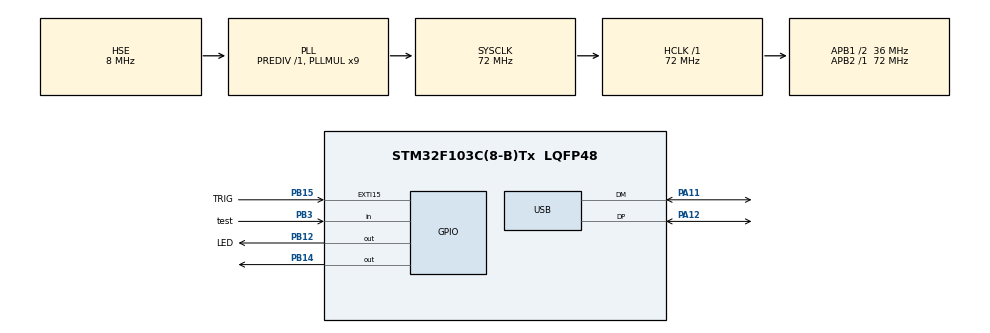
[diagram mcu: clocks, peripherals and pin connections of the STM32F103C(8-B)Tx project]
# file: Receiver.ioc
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Mcu.Family=STM32F1
Mcu.Name=STM32F103C(8-B)Tx
Mcu.Package=LQFP48
NVIC.EXTI15_10_IRQn=true\:0\:0\:false\:false\:true\:true\:true
NVIC.PriorityGroup=NVIC_PRIORITYGROUP_4
NVIC.TIM2_IRQn=true\:0\:0\:false\:false\:true\:true\:true
NVIC.USB_LP_CAN1_RX0_IRQn=true\:0\:0\:false\:false\:true\:false\:true
PA11.Mode=Device
PA11.Signal=USB_DM
PA12.Mode=Device
PA12.Signal=USB_DP
PA13.Mode=Serial_Wire
PA13.Signal=SYS_JTMS-SWDIO
PA14.Mode=Serial_Wire
PA14.Signal=SYS_JTCK-SWCLK
PB12.GPIO_Label=LED
PB12.GPIO_Speed=GPIO_SPEED_FREQ_HIGH
PB12.Signal=GPIO_Output
PB14.GPIO_Speed=GPIO_SPEED_FREQ_HIGH
PB14.PinState=GPIO_PIN_RESET
PB14.Signal=GPIO_Output
PB15.GPIO_Label=TRIG
PB15.GPIO_ModeDefaultEXTI=GPIO_MODE_IT_RISING
PB15.GPIO_PuPd=GPIO_NOPULL
PB15.Signal=GPXTI15
PB3.GPIO_Label=test
PB3.GPIO_PuPd=GPIO_NOPULL
PB3.Signal=GPIO_Input
PC14-OSC32_IN.Mode=LSE-External-Oscillator
PC14-OSC32_IN.Signal=RCC_OSC32_IN
PC15-OSC32_OUT.Mode=LSE-External-Oscillator
PC15-OSC32_OUT.Signal=RCC_OSC32_OUT
PD0-OSC_IN.Mode=HSE-External-Oscillator
PD0-OSC_IN.Signal=RCC_OSC_IN
PD1-OSC_OUT.Mode=HSE-External-Oscillator
PD1-OSC_OUT.Signal=RCC_OSC_OUT
ProjectManager.HeapSize=0x100
ProjectManager.StackSize=0x400
ProjectManager.TargetToolchain=STM32CubeIDE
RCC.ADCPresc=RCC_ADCPCLK2_DIV6
RCC.AHBFreq_Value=72000000
RCC.APB1CLKDivider=RCC_HCLK_DIV2
RCC.APB1Freq_Value=36000000
RCC.APB1TimFreq_Value=72000000
RCC.APB2Freq_Value=72000000
RCC.APB2TimFreq_Value=72000000
RCC.HCLKFreq_Value=72000000
RCC.PLLMUL=RCC_PLL_MUL9
RCC.PLLSourceVirtual=RCC_PLLSOURCE_HSE
RCC.SYSCLKFreq_VALUE=72000000
RCC.SYSCLKSource=RCC_SYSCLKSOURCE_PLLCLK
RCC.USBFreq_Value=48000000
RCC.USBPrescaler=RCC_USBCLKSOURCE_PLL_DIV1_5
TIM2.Period=50-1
TIM2.Prescaler=72-1
TIM2.TIM_MasterOutputTrigger=TIM_TRGO_RESET
TIM2.TIM_MasterSlaveMode=TIM_MASTERSLAVEMODE_DISABLE
USB_DEVICE.APP_RX_DATA_SIZE=2048
USB_DEVICE.APP_TX_DATA_SIZE=2048
USB_DEVICE.CLASS_NAME_FS=CDC
USB_DEVICE.USBD_MAX_NUM_INTERFACES=1
USB_DEVICE.VirtualMode=Cdc
USB_DEVICE.VirtualModeFS=Cdc_FS
VP_TIM2_VS_ClockSourceINT.Mode=Internal
VP_USB_DEVICE_VS_USB_DEVICE_CDC_FS.Mode=CDC_FS
board=custom

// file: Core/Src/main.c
/* USER CODE BEGIN Header */
/**
 ******************************************************************************
 * @file           : main.c
 * @brief          : Main program body
 ******************************************************************************
 * @attention
 *
 * <h2><center>&copy; Copyright (c) 2020 STMicroelectronics.
 * All rights reserved.</center></h2>
 *
 * This software component is licensed by ST under BSD 3-Clause license,
 * the "License"; You may not use this file except in compliance with the
 * License. You may obtain a copy of the License at:
 *                        opensource.org/licenses/BSD-3-Clause
 *
 ******************************************************************************
 */
/* USER CODE END Header */
#include "main.h"
#include "usb_device.h"

/* USER CODE BEGIN PD */
#define ADC_BUF_LEN 100
/* USER CODE END PD */

TIM_HandleTypeDef htim2;

/* USER CODE BEGIN PV */

uint32_t g_ADC1;
static volatile uint32_t g_ADCBuffer[1];
int g_TIMCALLBACK;//[8];

int data_buffer[100];

int i = 0;
int j = 0;
int k = 0;
char Msg[100];
char binaryString[8] = "";
char endString[] = "00000000";
int len = 10;
int counter = 1;
int bitnum = 0;
int stop = 0;
int initial_sync = 0;
int bytes = 0;
int bit = 0;
int wait = 0;
char c;
int period = 0;
int pulse_delay = 7;
int end_bit_flag = 0;
int word_end = 0;
int wait2 = 0;
int loop = 0;

//uint32_t adc_buf[ADC_BUF_LEN];
//double voltage = 0.0;

/* USER CODE END PV */

void SystemClock_Config(void);
static void MX_GPIO_Init(void);
static void MX_TIM2_Init(void);
/* USER CODE BEGIN PFP */
float Get_Voltage(uint32_t g_ADC1);
//void user_pwm_setvalue(uint16_t value);
/* USER CODE END PFP */

/* USER CODE BEGIN 0 */

/*void user_pwm_setvalue(uint16_t value)
{
    TIM_OC_InitTypeDef sConfigOC;

    sConfigOC.OCMode = TIM_OCMODE_PWM1;
    sConfigOC.Pulse = value;
    sConfigOC.OCPolarity = TIM_OCPOLARITY_HIGH;
    sConfigOC.OCNPolarity = TIM_OCNPOLARITY_HIGH;
    sConfigOC.OCFastMode = TIM_OCFAST_DISABLE;
    sConfigOC.OCIdleState = TIM_OCIDLESTATE_RESET;
    sConfigOC.OCNIdleState = TIM_OCNIDLESTATE_RESET;
    if(HAL_TIM_PWM_ConfigChannel(&htim1, &sConfigOC, TIM_CHANNEL_1) != HAL_OK)
    {
    	Error_Handler();
    }
    HAL_TIM_PWM_Start(&htim1, TIM_CHANNEL_1);
}*/

/* USER CODE END 0 */

int main(void)
{

  /* MCU Configuration--------------------------------------------------------*/

  /* Reset of all peripherals, Initializes the Flash interface and the Systick. */
  HAL_Init();

  /* USER CODE BEGIN Init */

	//HAL_NVIC_DisableIRQ(EXTI15_10_IRQn);

  /* USER CODE END Init */

  /* Configure the system clock */
  SystemClock_Config();

  /* Initialize all configured peripherals */
  MX_GPIO_Init();
  MX_USB_DEVICE_Init();
  MX_TIM2_Init();
  /* USER CODE BEGIN 2 */
	//HAL_TIM_Base_Start(&htim1);
	//HAL_TIM_Base_Start(&htim3);
	//HAL_TIM_PWM_Start(&htim3, TIM_CHANNEL_1);

	//HAL_ADC_Start(&hadc1);

	//HAL_ADC_Start_DMA(&hadc1, (uint32_t*)adc_buf, ADC_BUF_LEN);

	//float input_voltage = 0.0;

	//uint16_t pwm_value = 0;
	//uint16_t step = 0;
	//uint32_t v = 0;
	//char msg[10];
	//HAL_Delay(3000);
	//HAL_NVIC_EnableIRQ(EXTI15_10_IRQn);
	HAL_GPIO_WritePin(LED_GPIO_Port, LED_Pin, GPIO_PIN_SET);

  /* USER CODE END 2 */

  /* Infinite loop */
	while (1)
	{

	}
}

void SystemClock_Config(void)
{
  RCC_OscInitTypeDef RCC_OscInitStruct = {0};
  RCC_ClkInitTypeDef RCC_ClkInitStruct = {0};
  RCC_PeriphCLKInitTypeDef PeriphClkInit = {0};

  /** Initializes the RCC Oscillators according to the specified parameters
  * in the RCC_OscInitTypeDef structure.
  */
  RCC_OscInitStruct.OscillatorType = RCC_OSCILLATORTYPE_HSE;
  RCC_OscInitStruct.HSEState = RCC_HSE_ON;
  RCC_OscInitStruct.HSEPredivValue = RCC_HSE_PREDIV_DIV1;
  RCC_OscInitStruct.HSIState = RCC_HSI_ON;
  RCC_OscInitStruct.PLL.PLLState = RCC_PLL_ON;
  RCC_OscInitStruct.PLL.PLLSource = RCC_PLLSOURCE_HSE;
  RCC_OscInitStruct.PLL.PLLMUL = RCC_PLL_MUL9;
  if (HAL_RCC_OscConfig(&RCC_OscInitStruct) != HAL_OK)
  {
    Error_Handler();
  }
  /** Initializes the CPU, AHB and APB buses clocks
  */
  RCC_ClkInitStruct.ClockType = RCC_CLOCKTYPE_HCLK|RCC_CLOCKTYPE_SYSCLK
                              |RCC_CLOCKTYPE_PCLK1|RCC_CLOCKTYPE_PCLK2;
  RCC_ClkInitStruct.SYSCLKSource = RCC_SYSCLKSOURCE_PLLCLK;
  RCC_ClkInitStruct.AHBCLKDivider = RCC_SYSCLK_DIV1;
  RCC_ClkInitStruct.APB1CLKDivider = RCC_HCLK_DIV2;
  RCC_ClkInitStruct.APB2CLKDivider = RCC_HCLK_DIV1;

  if (HAL_RCC_ClockConfig(&RCC_ClkInitStruct, FLASH_LATENCY_2) != HAL_OK)
  {
    Error_Handler();
  }
  PeriphClkInit.PeriphClockSelection = RCC_PERIPHCLK_USB;
  PeriphClkInit.UsbClockSelection = RCC_USBCLKSOURCE_PLL_DIV1_5;
  if (HAL_RCCEx_PeriphCLKConfig(&PeriphClkInit) != HAL_OK)
  {
    Error_Handler();
  }
}

static void MX_TIM2_Init(void)
{

  TIM_ClockConfigTypeDef sClockSourceConfig = {0};
  TIM_MasterConfigTypeDef sMasterConfig = {0};

  htim2.Instance = TIM2;
  htim2.Init.Prescaler = 72-1;
  htim2.Init.CounterMode = TIM_COUNTERMODE_UP;
  htim2.Init.Period = 50-1;
  htim2.Init.ClockDivision = TIM_CLOCKDIVISION_DIV1;
  htim2.Init.AutoReloadPreload = TIM_AUTORELOAD_PRELOAD_DISABLE;
  if (HAL_TIM_Base_Init(&htim2) != HAL_OK)
  {
    Error_Handler();
  }
  sClockSourceConfig.ClockSource = TIM_CLOCKSOURCE_INTERNAL;
  if (HAL_TIM_ConfigClockSource(&htim2, &sClockSourceConfig) != HAL_OK)
  {
    Error_Handler();
  }
  sMasterConfig.MasterOutputTrigger = TIM_TRGO_RESET;
  sMasterConfig.MasterSlaveMode = TIM_MASTERSLAVEMODE_DISABLE;
  if (HAL_TIMEx_MasterConfigSynchronization(&htim2, &sMasterConfig) != HAL_OK)
  {
    Error_Handler();
  }

}

static void MX_GPIO_Init(void)
{
  GPIO_InitTypeDef GPIO_InitStruct = {0};

  /* GPIO Ports Clock Enable */
  __HAL_RCC_GPIOC_CLK_ENABLE();
  __HAL_RCC_GPIOD_CLK_ENABLE();
  __HAL_RCC_GPIOB_CLK_ENABLE();
  __HAL_RCC_GPIOA_CLK_ENABLE();

  /*Configure GPIO pin Output Level */
  HAL_GPIO_WritePin(GPIOB, LED_Pin|GPIO_PIN_14, GPIO_PIN_RESET);

  /*Configure GPIO pins : LED_Pin PB14 */
  GPIO_InitStruct.Pin = LED_Pin|GPIO_PIN_14;
  GPIO_InitStruct.Mode = GPIO_MODE_OUTPUT_PP;
  GPIO_InitStruct.Pull = GPIO_NOPULL;
  GPIO_InitStruct.Speed = GPIO_SPEED_FREQ_HIGH;
  HAL_GPIO_Init(GPIOB, &GPIO_InitStruct);

  /*Configure GPIO pin : TRIG_Pin */
  GPIO_InitStruct.Pin = TRIG_Pin;
  GPIO_InitStruct.Mode = GPIO_MODE_IT_RISING;
  GPIO_InitStruct.Pull = GPIO_NOPULL;
  HAL_GPIO_Init(TRIG_GPIO_Port, &GPIO_InitStruct);

  /*Configure GPIO pin : test_Pin */
  GPIO_InitStruct.Pin = test_Pin;
  GPIO_InitStruct.Mode = GPIO_MODE_INPUT;
  GPIO_InitStruct.Pull = GPIO_NOPULL;
  HAL_GPIO_Init(test_GPIO_Port, &GPIO_InitStruct);

  /* EXTI interrupt init*/
  HAL_NVIC_SetPriority(EXTI15_10_IRQn, 0, 0);
  HAL_NVIC_EnableIRQ(EXTI15_10_IRQn);

}

/* USER CODE BEGIN 4 */

void HAL_GPIO_EXTI_Callback(uint16_t GPIO_Pin) // trigger once when the first rising edge of the first bit of the start flag is detected
{
	if(GPIO_Pin == TRIG_Pin) // check that it has been called on the right pin
	{

		while(loop != 1)
		{
			if(HAL_GPIO_ReadPin(test_GPIO_Port, test_Pin) == 1)
			{
				HAL_TIM_Base_Start_IT(&htim2); // start the timer
				HAL_NVIC_DisableIRQ(EXTI15_10_IRQn); // disable this trigger
				__HAL_GPIO_EXTI_CLEAR_IT(GPIO_Pin);
				loop = 1;
			}
		}
		//HAL_GPIO_WritePin(LED_GPIO_Port, LED_Pin, GPIO_PIN_RESET); // turn on the blue on board LED to signal that data is now being sampled
		//j++;
	}
}

// Callback: timer has rolled over
void HAL_TIM_PeriodElapsedCallback(TIM_HandleTypeDef *htim)
{
	if ( htim == &htim2 ) // triggers every 0.5ms
	{
		//if( k == 0 )
		//{
		//sprintf(Msg, "Incoming Transmission:\r\n"); // visual to tell user that the program has started recording data
		//CDC_Transmit_FS(Msg, strlen(Msg)); // prints to putty
		//k = 1;
		//}

		if( wait < pulse_delay ) // initially 7 then 1 then 9 then 1 then 9....
		{
			wait++;
			//HAL_GPIO_WritePin(GPIOB, GPIO_PIN_14, GPIO_PIN_SET);
			HAL_GPIO_WritePin(GPIOB, GPIO_PIN_14, GPIO_PIN_RESET);

		} else { // record data
			if(i == 8)
			{
				// uncomment to end the transmission after 8 zeros are detected in a line (endString = '00000000')
				//if(strcmp(binaryString, endString) == 0)
				//{
				//	sprintf(Msg, "\r\nTransmission Ended.\r\n");
				//	CDC_Transmit_FS(Msg, strlen(Msg));
				//HAL_TIM_Base_Stop_IT(&htim2);
				//}
				//else
				//{

				if(end_bit_flag != 1)
				{
					c = strtol(binaryString, 0, 2); // method to convert the first 8 positions in the integer binarystring array to a character
					if(bytes == 32) // used to print the next entire transmission to a new line (len - 1)
					{
						sprintf(Msg, "%c\r\n", c); //\r\n
						CDC_Transmit_FS(Msg, strlen(Msg));
						bytes = 0;
						word_end = 1;
						end_bit_flag = 1;
					}
					else
					{
						sprintf(Msg, "%c", c); // prints one character at a time
						CDC_Transmit_FS(Msg, strlen(Msg));
						bytes++;
					}

					wait = 1;
				}

				if(word_end == 1)
				{
					if(wait2 < 1)
					{
						wait2++;
						HAL_GPIO_WritePin(GPIOB, GPIO_PIN_14, GPIO_PIN_RESET);
					}
					else
					{
						word_end = 0;
					}
				}
				else
				{
					loop = 0;
					end_bit_flag = 0;
					i = 0;
					HAL_NVIC_EnableIRQ(EXTI15_10_IRQn);
					wait = 0; // reset pulse delay and set delay to 9 cycles to incorporate both the start and end flags
					wait2 = 0;
					pulse_delay = 6;
					HAL_TIM_Base_Stop_IT(&htim2);
				}
			}
			else
			{
				HAL_GPIO_WritePin(GPIOB, GPIO_PIN_14, GPIO_PIN_SET);
				//HAL_GPIO_WritePin(GPIOB, GPIO_PIN_14, GPIO_PIN_RESET);

				// check if the input voltage is above approximately 1.2V to record a HIGH (1), or less than that to record a LOW (0)
				g_TIMCALLBACK = HAL_GPIO_ReadPin(test_GPIO_Port, test_Pin);
				//sprintf(Msg, "%d", g_TIMCALLBACK);
				//CDC_Transmit_FS(Msg, strlen(Msg));
				binaryString[i] = g_TIMCALLBACK +'0'; // simple trick to convert an int to a char

				i++;

				// reset pulse delay and set delay to 1 cycle to sample in the exact middle of each incoming pulse
				wait = 0;
				pulse_delay = 1;
			}
		}
	}
}

// METHOD USING 2 TIMERS
/*if ( htim == &htim3 ) // triggers every 1ms
	{
		wait++;

		if(wait == 4)
		{
			HAL_GPIO_WritePin(GPIOB, GPIO_PIN_14, GPIO_PIN_RESET);
			wait = 0;
			pulse_delay = 1;
			HAL_TIM_Base_Stop_IT(&htim3);
			HAL_TIM_Base_Start_IT(&htim2);
		}
		else
		{
			HAL_GPIO_WritePin(GPIOB, GPIO_PIN_14, GPIO_PIN_SET);
		}

		//sprintf(Msg, "Incoming Transmission:\r\n");
		//CDC_Transmit_FS(Msg, strlen(Msg));

	}
	else */

//OLD CODE FOR 2ND TIMER
//sprintf(Msg, "%d", g_TIMCALLBACK);
//CDC_Transmit_FS(Msg, strlen(Msg));

/*if (end_bit_flag != 1){
				if(i == 8)
				{
					c = strtol(binaryString, 0, 2);
					sprintf(Msg, "%s = %c\r\n", binaryString, c);
					CDC_Transmit_FS(Msg, strlen(Msg));
					i = 0;
					end_bit_flag = 1;
					wait = 0;
				} else {
					HAL_GPIO_WritePin(GPIOB, GPIO_PIN_14, GPIO_PIN_SET);

					g_TIMCALLBACK[i] = HAL_GPIO_ReadPin(test_GPIO_Port, test_Pin);
					binaryString[i] = g_TIMCALLBACK[i] +'0';

					i++;

					wait = 0;
					//pulse_delay = 2;
				}

			} else {
				wait = 0;
				end_bit_flag = 0;
				HAL_TIM_Base_Stop_IT(&htim2);
				HAL_TIM_Base_Start_IT(&htim3);
			}*/

// OLD CODE USING 1 TIMER
/*if( counter % 2 == 0 ){
			if(wait1 == 1)
			{
				wait1 = 0;
				initial_sync = 0;
				HAL_TIM_Base_Stop_IT(&htim2);
				HAL_NVIC_EnableIRQ(EXTI15_10_IRQn);
			}else{

				if(preamble_flag != 1){

					HAL_GPIO_WritePin(GPIOB, GPIO_PIN_14, GPIO_PIN_SET);

					//HAL_GPIO_WritePin(LED_GPIO_Port, LED_Pin, GPIO_PIN_SET);

					//g_TIMCALLBACK[i] = HAL_GPIO_ReadPin(test_GPIO_Port, test_Pin);

					if(g_TIMCALLBACK[i] == 1)
					{
						preamble_detection++;

						//sprintf(Msg, "%d-P", preamble_detection);
						//CDC_Transmit_FS(Msg, strlen(Msg));

						if(preamble_detection == 3) // i == 2
						{
							if(k == 0)
							{
								sprintf(Msg, "Incoming Transmission:\r\n");
								CDC_Transmit_FS(Msg, strlen(Msg));
								k = 1;
							}
							preamble_flag = 1;
							i = 0;
						} else {
							i++;
						}
					}
					else
					{
						preamble_detection = 0;
						i = 0;
						if(j == 0)
						{
							sprintf(Msg, "Transmission Ended.\r\n");
							//sprintf(Msg, "F");
							CDC_Transmit_FS(Msg, strlen(Msg));
							j = 1;
						}
					}

				} else {
					g_TIMCALLBACK[i] = HAL_GPIO_ReadPin(test_GPIO_Port, test_Pin);

					if ( g_TIMCALLBACK[i] == 1 )
					{
						binaryString[i] = '1';
						//strcat(binaryString, "1");
						//sprintf(binaryString[bit], "%d", g_TIMCALLBACK[i]);
					}
					else
					{
						binaryString[i] = '0';
						//strcat(binaryString, "0");
						//sprintf(binaryString[bit], "%d", g_TIMCALLBACK[i]);
					}

					i++;

					if(i == 8)
					{
						c = strtol(binaryString, 0, 2);
						sprintf(Msg, "%s = %c\r\n", binaryString, c);
						CDC_Transmit_FS(Msg, strlen(Msg));
						bit = 0;
						wait1 = 1;
						preamble_flag = 0;
						i = 0;
						preamble_detection = 0;
					}
					 }
			}
		}
		else{
			HAL_GPIO_WritePin(GPIOB, GPIO_PIN_14, GPIO_PIN_RESET);
		}

		counter = counter + 1;

	}*/

/* USER CODE END 4 */

void Error_Handler(void)
{
  /* USER CODE BEGIN Error_Handler_Debug */
	/* User can add his own implementation to report the HAL error return state */
	//printf("Your shit");
  /* USER CODE END Error_Handler_Debug */
}

/************************ (C) COPYRIGHT STMicroelectronics *****END OF FILE****/
